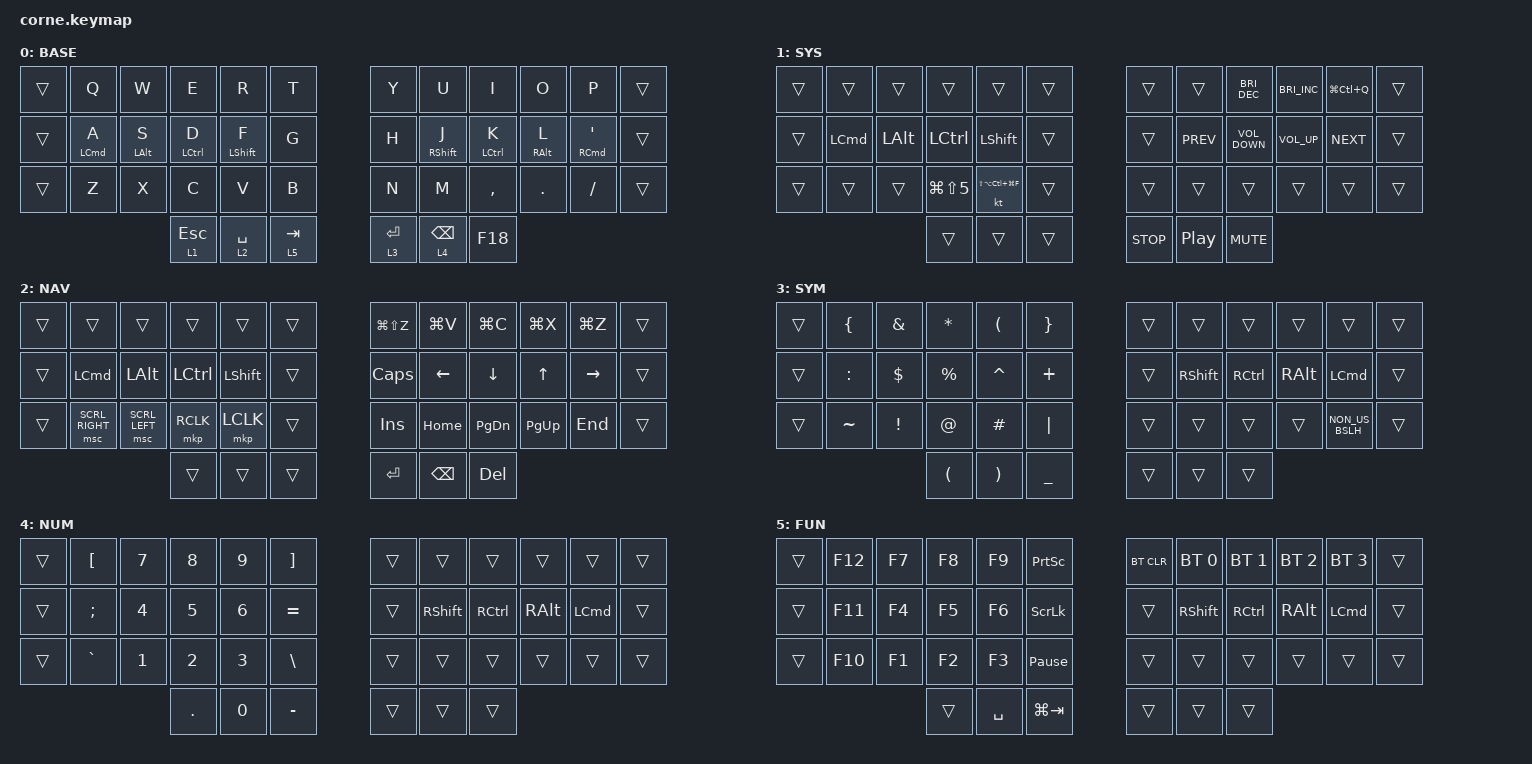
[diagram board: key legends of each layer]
/*
 * Copyright (c) 2020 The ZMK Contributors
 *
 * SPDX-License-Identifier: MIT
 */

#include <behaviors.dtsi>
#include <dt-bindings/zmk/bt.h>
#include <dt-bindings/zmk/keys.h>
#include <dt-bindings/zmk/pointing.h>

/* Global mod-tap tuning */

&mt {
    flavor = "tap-preferred";   /* prioritise letters over mods        */
    tapping-term-ms = <250>;    /* increase tap window (default 200)   */
    quick-tap-ms = <150>;     /* ignore rapid re-presses as “hold”    */
};

/ {
};

/ {
    keymap {
        compatible = "zmk,keymap";

        default_layer {
            bindings = <
&trans  &kp Q               &kp W           &kp E               &kp R             &kp T        &kp Y        &kp U              &kp I               &kp O            &kp P                         &trans
&trans  &mt LEFT_COMMAND A  &mt LEFT_ALT S  &mt LEFT_CONTROL D  &mt LEFT_SHIFT F  &kp G        &kp H        &mt RIGHT_SHIFT J  &mt LEFT_CONTROL K  &mt RIGHT_ALT L  &mt RIGHT_COMMAND APOSTROPHE  &trans
&trans  &kp Z               &kp X           &kp C               &kp V             &kp B        &kp N        &kp M              &kp COMMA           &kp DOT          &kp FSLH                      &trans
                                            &lt 1 ESCAPE        &lt 2 SPACE       &lt 5 TAB    &lt 3 ENTER  &lt 4 BACKSPACE    &kp F18
            >;

            label = "BASE";
        };

        sys_layer {
            bindings = <
&trans  &trans            &trans        &trans            &trans                 &trans    &trans      &trans            &kp C_BRIGHTNESS_DEC  &kp C_BRIGHTNESS_INC  &kp LG(LC(Q))  &trans
&trans  &kp LEFT_COMMAND  &kp LEFT_ALT  &kp LEFT_CONTROL  &kp LEFT_SHIFT         &trans    &trans      &kp C_PREV        &kp C_VOLUME_DOWN     &kp C_VOLUME_UP       &kp C_NEXT     &trans
&trans  &trans            &trans        &kp LG(LS(N5))    &kt LS(LA(LC(LG(F))))  &trans    &trans      &trans            &trans                &trans                &trans         &trans
                                        &trans            &trans                 &trans    &kp C_STOP  &kp C_PLAY_PAUSE  &kp C_MUTE
            >;

            label = "SYS";
        };

        nav_layer {
            bindings = <
&trans  &trans            &trans          &trans            &trans          &trans    &kp LG(LS(Z))  &kp LG(V)       &kp LG(C)       &kp LG(X)     &kp LG(Z)        &trans
&trans  &kp LEFT_COMMAND  &kp LEFT_ALT    &kp LEFT_CONTROL  &kp LEFT_SHIFT  &trans    &kp CAPSLOCK   &kp LEFT_ARROW  &kp DOWN_ARROW  &kp UP_ARROW  &kp RIGHT_ARROW  &trans
&trans  &msc SCRL_RIGHT   &msc SCRL_LEFT  &mkp RCLK         &mkp LCLK       &trans    &kp INSERT     &kp HOME        &kp PAGE_DOWN   &kp PAGE_UP   &kp END          &trans
                                          &trans            &trans          &trans    &kp RET        &kp BACKSPACE   &kp DELETE
            >;

            label = "NAV";
        };

        sym_layer {
            bindings = <
&trans  &kp LEFT_BRACE  &kp AMPERSAND  &kp ASTRK             &kp LEFT_PARENTHESIS   &kp RIGHT_BRACE    &trans  &trans           &trans             &trans         &trans            &trans
&trans  &kp COLON       &kp DOLLAR     &kp PERCENT           &kp CARET              &kp PLUS           &trans  &kp RIGHT_SHIFT  &kp RIGHT_CONTROL  &kp RIGHT_ALT  &kp LEFT_COMMAND  &trans
&trans  &kp TILDE       &kp EXCL       &kp AT_SIGN           &kp HASH               &kp PIPE           &trans  &trans           &trans             &trans         &kp NON_US_BSLH   &trans
                                       &kp LEFT_PARENTHESIS  &kp RIGHT_PARENTHESIS  &kp UNDERSCORE     &trans  &trans           &trans
            >;

            label = "SYM";
        };

        num_layer {
            bindings = <
&trans  &kp LEFT_BRACKET  &kp N7  &kp N8      &kp N9  &kp RIGHT_BRACKET    &trans  &trans           &trans             &trans         &trans            &trans
&trans  &kp SEMICOLON     &kp N4  &kp N5      &kp N6  &kp EQUAL            &trans  &kp RIGHT_SHIFT  &kp RIGHT_CONTROL  &kp RIGHT_ALT  &kp LEFT_COMMAND  &trans
&trans  &kp GRAVE         &kp N1  &kp N2      &kp N3  &kp BACKSLASH        &trans  &trans           &trans             &trans         &trans            &trans
                                  &kp PERIOD  &kp N0  &kp MINUS            &trans  &trans           &trans
            >;

            label = "NUM";
        };

        fun_layer {
            bindings = <
&trans  &kp F12  &kp F7  &kp F8  &kp F9     &kp PRINTSCREEN    &bt BT_CLR  &bt BT_SEL 0     &bt BT_SEL 1       &bt BT_SEL 2   &bt BT_SEL 3      &trans
&trans  &kp F11  &kp F4  &kp F5  &kp F6     &kp SCROLLLOCK     &trans      &kp RIGHT_SHIFT  &kp RIGHT_CONTROL  &kp RIGHT_ALT  &kp LEFT_COMMAND  &trans
&trans  &kp F10  &kp F1  &kp F2  &kp F3     &kp PAUSE_BREAK    &trans      &trans           &trans             &trans         &trans            &trans
                         &trans  &kp SPACE  &kp LG(TAB)        &trans      &trans           &trans
            >;

            label = "FUN";
        };
    };
};
